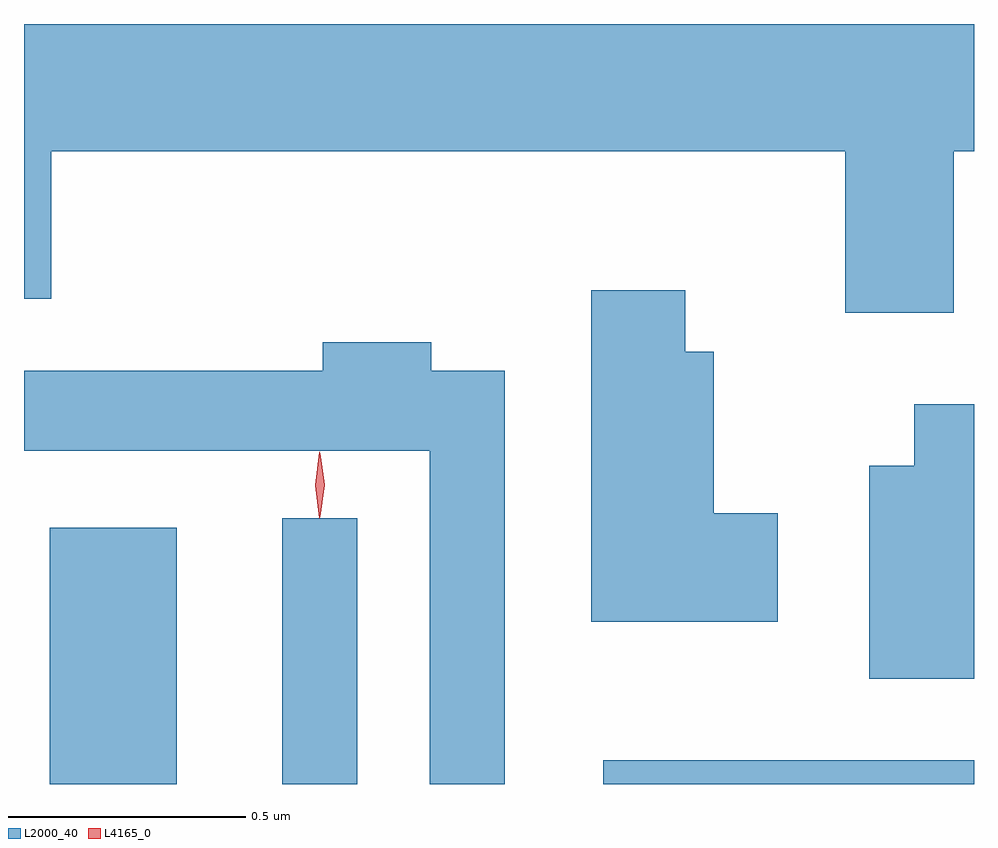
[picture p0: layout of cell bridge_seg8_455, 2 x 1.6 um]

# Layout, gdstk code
import gdstk
lib = gdstk.Library(unit=1e-6, precision=1e-09)
def R(c, l, rs):  # rectangles x0, y0, x1, y1
    for r in rs: c.add(gdstk.rectangle(r[:2], r[2:], *l))
def P(c, l, *ps):  # polygons
    for p in ps: c.add(gdstk.Polygon(p, *l))
L2000_40 = (2000, 40)
L4165_0 = (4165, 0)

bridge_seg8_455 = lib.new_cell('bridge_seg8_455')
R(bridge_seg8_455, L2000_40, [(977.466,1826.204,977.734,1826.744), (977.956,1826.204,978.114,1826.763), (978.631,1826.204,979.412,1826.254)])
P(bridge_seg8_455, L2000_40, [(979.369,1827.536),(979.412,1827.536),(979.412,1827.804),(977.412,1827.804),(977.412,1827.226),(977.469,1827.226),(977.469,1827.536),(979.141,1827.536),(979.141,1827.196),(979.369,1827.196)],
  [(978.999,1826.774),(978.864,1826.774),(978.864,1827.114),(978.804,1827.114),(978.804,1827.244),(978.606,1827.244),(978.606,1826.546),(978.999,1826.546)],
  [(978.424,1827.074),(978.269,1827.074),(978.269,1827.134),(978.041,1827.134),(978.041,1827.074),(977.412,1827.074),(977.412,1826.906),(978.266,1826.906),(978.266,1826.204),(978.424,1826.204)],
  [(979.412,1827.004),(979.286,1827.004),(979.286,1826.874),(979.191,1826.874),(979.191,1826.426),(979.412,1826.426)])
P(bridge_seg8_455, L4165_0, [(978.034,1826.764),(978.025,1826.833),(978.034,1826.902),(978.035,1826.903),(978.035,1826.902),(978.045,1826.833),(978.035,1826.764),(978.035,1826.764)],
  [(978.034,1826.767),(978.025,1826.834),(978.034,1826.9),(978.035,1826.9),(978.036,1826.9),(978.045,1826.834),(978.036,1826.767),(978.035,1826.767)])

lib.write_gds('bridge_seg8_455.gds')
